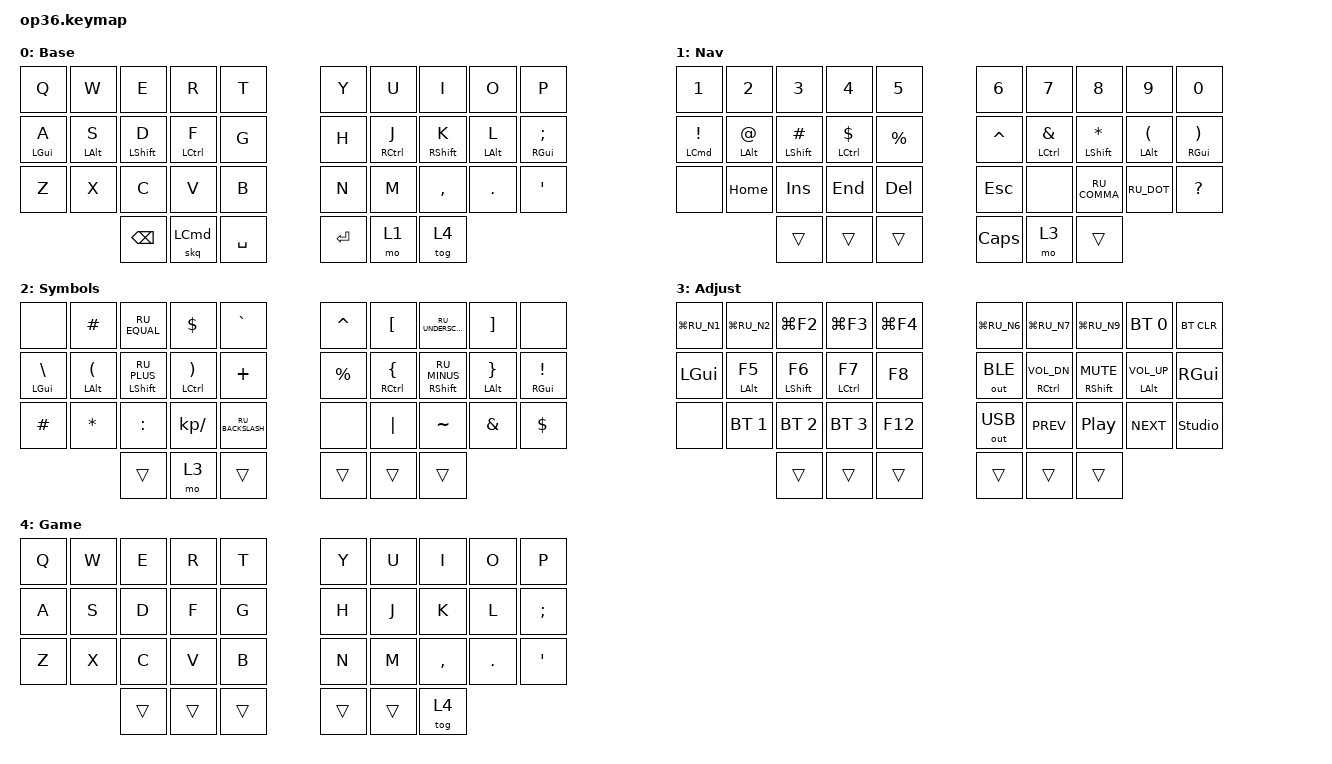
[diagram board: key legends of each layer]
#include "keys_ru.h"
#include <behaviors.dtsi>
#include <dt-bindings/zmk/bt.h>
#include <dt-bindings/zmk/keys.h>
#include <dt-bindings/zmk/outputs.h>

/ {
    behaviors {
        hml: home_row_mod_left {
            compatible = "zmk,behavior-hold-tap";
            #binding-cells = <2>;
            flavor = "balanced";
            require-prior-idle-ms = <150>;
            tapping-term-ms = <280>;
            quick-tap-ms = <175>;
            bindings = <&kp>, <&kp>;

            hold-trigger-key-positions = <5 6 7 8 9 15 16 17 18 19 25 26 27 28 29 33 34 35>;
            hold-trigger-on-release;
        };

        hmr: home_row_mod_right {
            compatible = "zmk,behavior-hold-tap";
            #binding-cells = <2>;
            flavor = "balanced";
            require-prior-idle-ms = <150>;
            tapping-term-ms = <240>;
            quick-tap-ms = <175>;
            bindings = <&kp>, <&kp>;

            hold-trigger-key-positions = <0 1 2 3 4 10 11 12 13 14 20 21 22 23 24 30 31 32>;
            hold-trigger-on-release;
        };

        skq: sticky_key_quick {
            compatible = "zmk,behavior-sticky-key";
            #binding-cells = <1>;
            bindings = <&kp>;
            release-after-ms = <2000>;
            quick-release;
        };
    };

    combos {
        compatible = "zmk,combos";

        kha {
            bindings = <&kp LBKT>;
            key-positions = <6 7>;
        };

        hrdsgn {
            bindings = <&kp RBKT>;
            key-positions = <7 8>;
        };

        copy {
            bindings = <&kp K_COPY>;
            key-positions = <10 22>;
        };

        paste {
            bindings = <&kp K_PASTE>;
            key-positions = <10 23>;
        };
    };

    keymap {
        compatible = "zmk,keymap";

        base {
            bindings = <
  &kp Q        &kp W        &kp E         &kp R          &kp T                                      &kp Y  &kp U         &kp I         &kp O        &kp P
  &hml LGUI A  &hml LALT S  &hml LSHFT D  &hml LCTRL F   &kp G                                      &kp H  &hmr RCTRL J  &hmr RSHFT K  &hmr LALT L  &hmr RGUI SEMICOLON
  &kp Z        &kp X        &kp C         &kp V          &kp B                                      &kp N  &kp M         &kp COMMA     &kp DOT      &kp SQT
                                          &kp BACKSPACE  &skq LEFT_COMMAND  &kp SPACE    &kp ENTER  &mo 1  &tog 4
            >;

            display-name = "Base";
        };

        nav {
            bindings = <
  &kp N1                  &kp N2            &kp N3                &kp N4                    &kp N5                               &kp N6     &kp N7                       &kp N8                    &kp N9                      &kp N0
  &hml LEFT_COMMAND EXCL  &hml LEFT_ALT AT  &hml LEFT_SHIFT HASH  &hml LEFT_CONTROL DOLLAR  &kp PERCENT                          &kp CARET  &hmr LEFT_CONTROL AMPERSAND  &hmr LEFT_SHIFT ASTERISK  &hmr LALT LEFT_PARENTHESIS  &hmr RGUI RIGHT_PARENTHESIS
  &none                   &kp HOME          &kp INS               &kp END                   &kp DELETE                           &kp ESC    &none                        &kp RU_COMMA              &kp RU_DOT                  &kp QUESTION
                                                                  &trans                    &trans       &trans    &kp CAPSLOCK  &mo 3      &trans
            >;

            display-name = "Nav";
        };

        sym {
            bindings = <
  &none           &kp HASH        &kp RU_EQUAL        &kp DOLLAR       &kp GRAVE                           &kp CARET  &kp LBKT         &kp RU_UNDERSCORE    &kp RBKT        &none
  &hml LGUI BSLH  &hml LALT LPAR  &hml LSHFT RU_PLUS  &hml LCTRL RPAR  &kp PLUS                            &kp PRCNT  &hmr RCTRL LBRC  &hmr RSHFT RU_MINUS  &hmr LALT RBRC  &hmr RGUI EXCL
  &kp HASH        &kp STAR        &kp COLON           &kp KP_SLASH     &kp RU_BACKSLASH                    &none      &kp PIPE         &kp TILDE            &kp AMPS        &kp DLLR
                                                      &trans           &mo 3             &trans    &trans  &trans     &trans
            >;

            display-name = "Symbols";
        };

        adj {
            bindings = <
  &kp LG(RU_N1)  &kp LG(RU_N2)  &kp LG(F2)     &kp LG(F3)     &kp LG(F4)                    &kp LG(RU_N6)  &kp LG(RU_N7)        &kp LG(RU_N9)      &bt BT_SEL 0        &bt BT_CLR
  &kp LGUI       &hml LALT F5   &hml LSHFT F6  &hml LCTRL F7  &kp F8                        &out OUT_BLE   &hmr RCTRL C_VOL_DN  &hmr RSHFT C_MUTE  &hmr LALT C_VOL_UP  &kp RGUI
  &none          &bt BT_SEL 1   &bt BT_SEL 2   &bt BT_SEL 3   &kp F12                       &out OUT_USB   &kp C_PREV           &kp C_PP           &kp C_NEXT          &studio_unlock
                                               &trans         &trans      &trans    &trans  &trans         &trans
            >;

            display-name = "Adjust";
        };

        game {
            display-name = "Game";
            bindings = <
  &kp Q  &kp W  &kp E  &kp R   &kp T                     &kp Y   &kp U   &kp I      &kp O    &kp P
  &kp A  &kp S  &kp D  &kp F   &kp G                     &kp H   &kp J   &kp K      &kp L    &kp SEMICOLON
  &kp Z  &kp X  &kp C  &kp V   &kp B                     &kp N   &kp M   &kp COMMA  &kp DOT  &kp SQT
                       &trans  &trans  &trans    &trans  &trans  &tog 4
            >;
        };
    };
};
